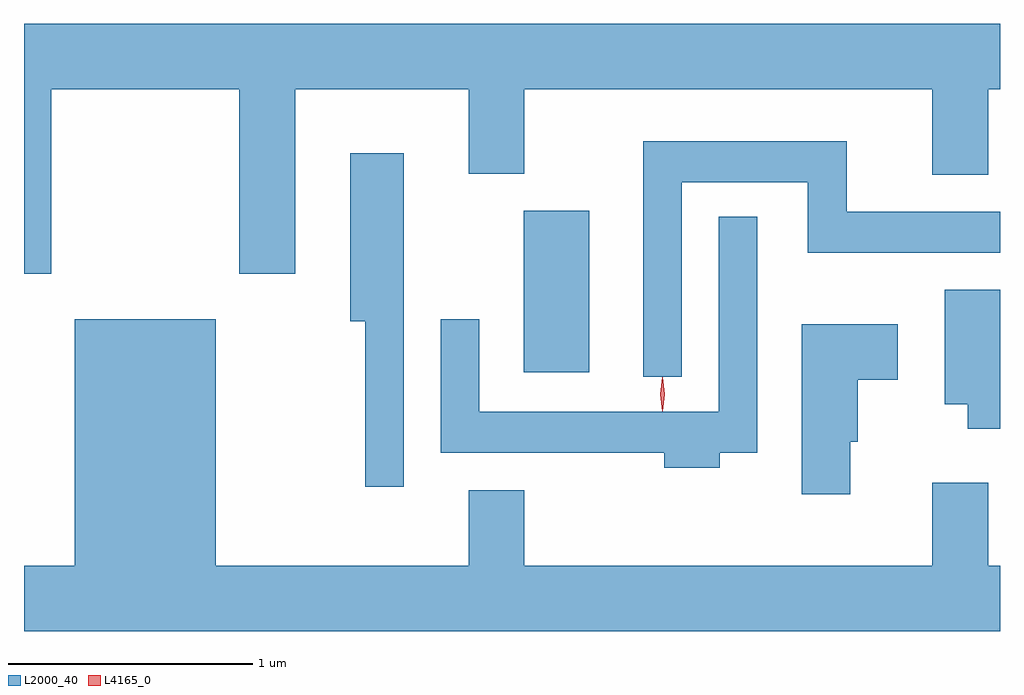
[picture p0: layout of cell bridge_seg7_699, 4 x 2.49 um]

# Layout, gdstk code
import gdstk
lib = gdstk.Library(unit=1e-6, precision=1e-09)
def R(c, l, rs):  # rectangles x0, y0, x1, y1
    for r in rs: c.add(gdstk.rectangle(r[:2], r[2:], *l))
def P(c, l, *ps):  # polygons
    for p in ps: c.add(gdstk.Polygon(p, *l))
L2000_40 = (2000, 40)
L4165_0 = (4165, 0)

bridge_seg7_699 = lib.new_cell('bridge_seg7_699')
R(bridge_seg7_699, L2000_40, [(591.926,1744.236,592.194,1744.899)])
P(bridge_seg7_699, L2000_40, [(589.989,1745.396),(590.761,1745.396),(590.761,1744.641),(590.989,1744.641),(590.989,1745.396),(591.701,1745.396),(591.701,1745.051),(591.929,1745.051),(591.929,1745.396),(593.601,1745.396),(593.601,1745.046),(593.829,1745.046),(593.829,1745.396),(593.878,1745.396),(593.878,1745.664),(589.878,1745.664),(589.878,1744.641),(589.989,1744.641)],
  [(592.574,1745.016),(593.091,1745.016),(593.091,1744.726),(593.878,1744.726),(593.878,1744.894),(593.249,1744.894),(593.249,1745.184),(592.416,1745.184),(592.416,1744.218),(592.574,1744.218)],
  [(591.434,1745.134),(591.216,1745.134),(591.216,1744.446),(591.276,1744.446),(591.276,1743.768),(591.434,1743.768)],
  [(592.729,1743.906),(592.884,1743.906),(592.884,1744.873),(592.726,1744.873),(592.726,1744.074),(591.744,1744.074),(591.744,1744.453),(591.586,1744.453),(591.586,1743.906),(592.501,1743.906),(592.501,1743.846),(592.729,1743.846)],
  [(593.878,1744.574),(593.651,1744.574),(593.651,1744.106),(593.746,1744.106),(593.746,1744.006),(593.878,1744.006)],
  [(593.878,1743.444),(593.829,1743.444),(593.829,1743.784),(593.601,1743.784),(593.601,1743.444),(591.929,1743.444),(591.929,1743.754),(591.701,1743.754),(591.701,1743.444),(590.664,1743.444),(590.664,1744.454),(590.086,1744.454),(590.086,1743.444),(589.878,1743.444),(589.878,1743.176),(593.878,1743.176)],
  [(593.264,1743.951),(593.294,1743.951),(593.294,1744.206),(593.459,1744.206),(593.459,1744.434),(593.066,1744.434),(593.066,1743.736),(593.264,1743.736)])
P(bridge_seg7_699, L4165_0, [(592.494,1744.077),(592.485,1744.146),(592.494,1744.216),(592.495,1744.216),(592.495,1744.216),(592.505,1744.146),(592.495,1744.077),(592.495,1744.077)],
  [(592.495,1744.079),(592.494,1744.08),(592.485,1744.146),(592.494,1744.212),(592.495,1744.213),(592.495,1744.212),(592.505,1744.146),(592.495,1744.08)])

lib.write_gds('bridge_seg7_699.gds')
